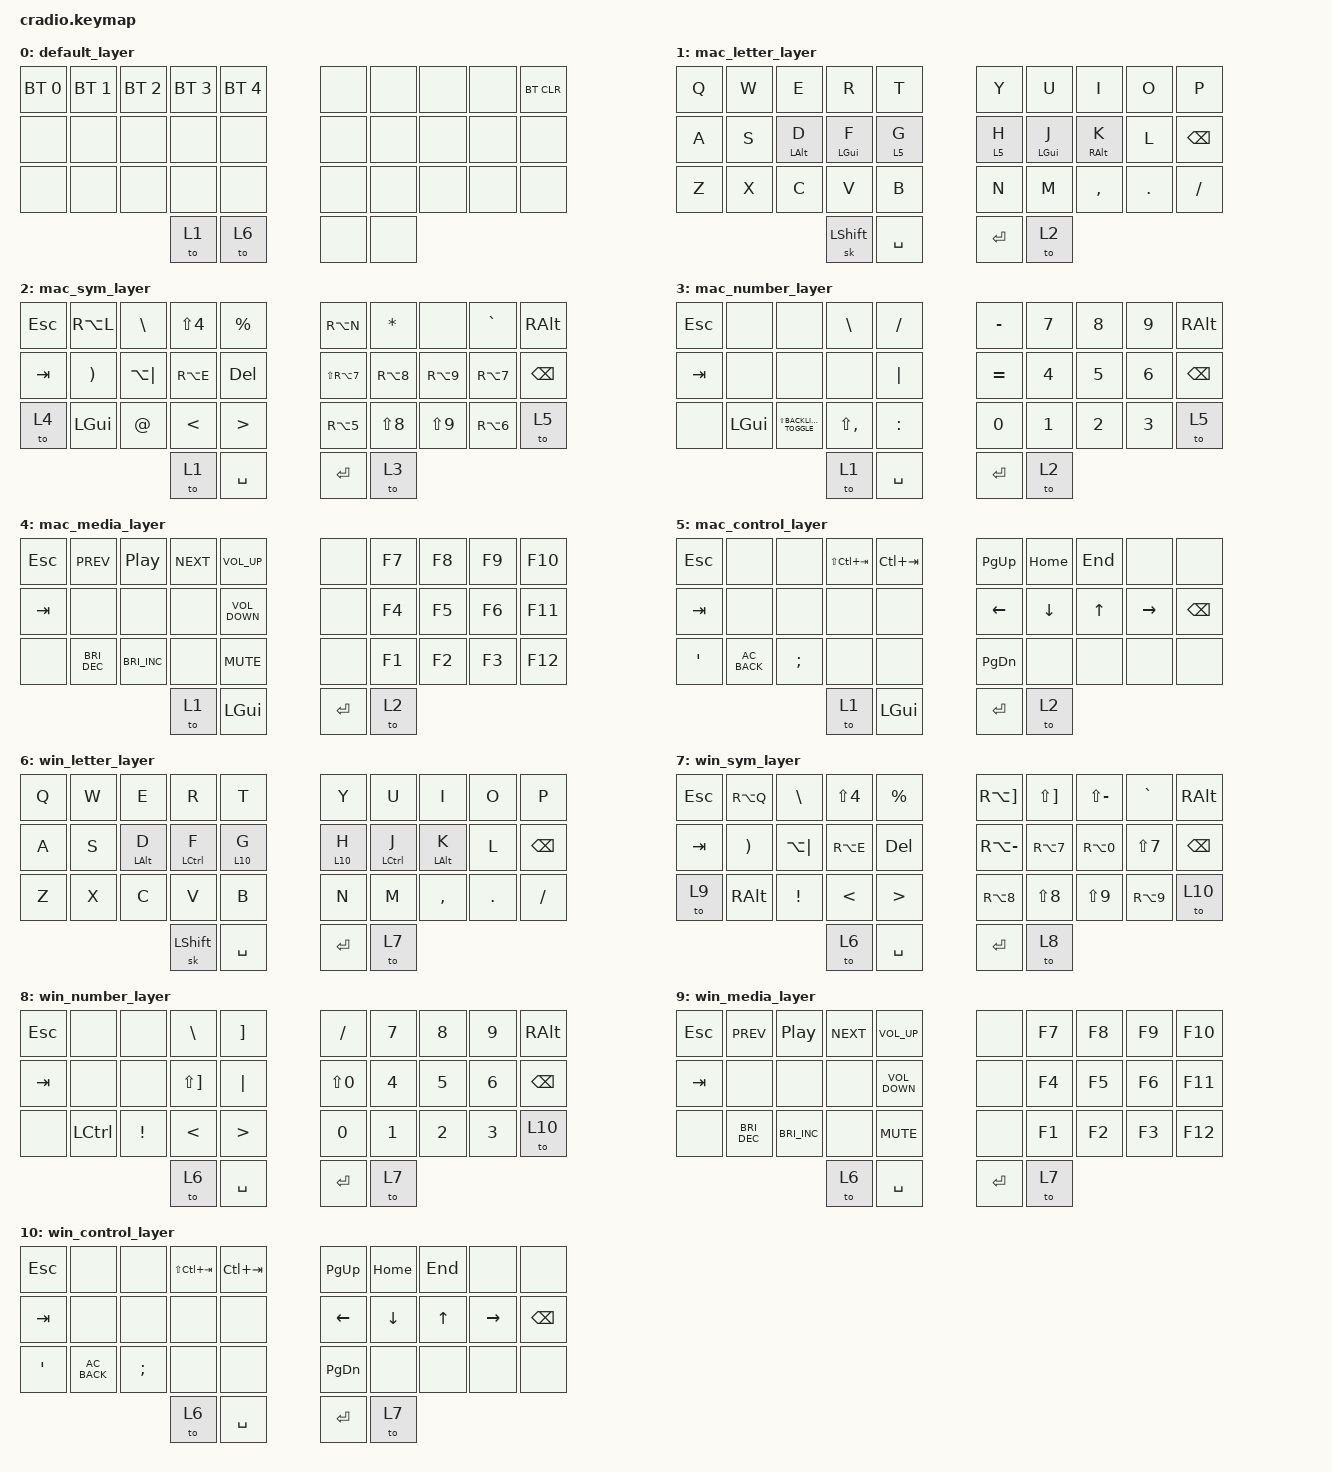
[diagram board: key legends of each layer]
// Copyright (c) 2022 The ZMK Contributors
// SPDX-License-Identifier: MIT

#include <behaviors.dtsi>
#include <dt-bindings/zmk/bt.h>
#include <dt-bindings/zmk/keys.h>

#define BASE 0
#define MAC_LETTER 1
#define MAC_SYM 2
#define MAC_NUMBER 3
#define MAC_MEDIA 4
#define MAC_CONTROL 5
#define WIN_LETTER 6
#define WIN_SYM 7
#define WIN_NUMBER 8
#define WIN_MEDIA 9
#define WIN_CONTROL 10// -----------------

&mt {
    tapping-term-ms = <400>;
};

/ {
    keymap {
        compatible = "zmk,keymap";

        default_layer {
            bindings = <
 &bt BT_SEL 0  &bt BT_SEL 1  &bt BT_SEL 2  &bt BT_SEL 3  &bt BT_SEL 4   &none   &none   &none   &none  &bt BT_CLR
        &none         &none         &none         &none         &none   &none   &none   &none   &none       &none
        &none         &none         &none         &none         &none   &none   &none   &none   &none       &none
                                                  &to 1         &to 6   &none   &none
            >;
        };

        mac_letter_layer {
            bindings = <
  &kp Q   &kp W       &kp E       &kp R      &kp T      &kp Y       &kp U       &kp I    &kp O     &kp P
  &kp A   &kp S  &mt LALT D  &mt LGUI F    &lt 5 G    &lt 5 H  &mt LGUI J  &mt RALT K    &kp L  &kp BSPC
  &kp Z   &kp X       &kp C       &kp V      &kp B      &kp N       &kp M   &kp COMMA  &kp DOT  &kp FSLH
                             &sk LSHIFT  &kp SPACE  &kp ENTER       &to 2
            >;
        };

        mac_sym_layer {
            bindings = <
 &kp ESC  &kp RA(L)  &kp BACKSLASH  &kp LS(N4)  &kp PERCENT       &kp RA(N)  &kp ASTERISK       &none   &kp GRAVE  &kp RALT
 &kp TAB   &kp RPAR   &kp LA(PIPE)   &kp RA(E)   &kp DELETE  &kp LS(RA(N7))    &kp RA(N8)  &kp RA(N9)  &kp RA(N7)  &kp BSPC
   &to 4   &kp LGUI         &kp AT      &kp LT       &kp GT      &kp RA(N5)    &kp LS(N8)  &kp LS(N9)  &kp RA(N6)     &to 5
                                         &to 1    &kp SPACE       &kp ENTER         &to 3
            >;
        };

        mac_number_layer {
            bindings = <
 &kp ESC     &none                       &none  &kp BACKSLASH  &kp SLASH  &kp MINUS  &kp N7  &kp N8  &kp N9  &kp RALT
 &kp TAB     &none                       &none          &none   &kp PIPE  &kp EQUAL  &kp N4  &kp N5  &kp N6  &kp BSPC
   &none  &kp LGUI  &kp LS(C_BACKLIGHT_TOGGLE)  &kp LS(COMMA)  &kp COLON     &kp N0  &kp N1  &kp N2  &kp N3     &to 5
                                                        &to 1  &kp SPACE  &kp ENTER   &to 2
            >;
        };

        mac_media_layer {
            bindings = <
 &kp ESC            &kp C_PREV      &kp C_PLAY_PAUSE  &kp C_NEXT    &kp C_VOLUME_UP      &none  &kp F7  &kp F8  &kp F9  &kp F10
 &kp TAB                 &none                 &none       &none  &kp C_VOLUME_DOWN      &none  &kp F4  &kp F5  &kp F6  &kp F11
   &none  &kp C_BRIGHTNESS_DEC  &kp C_BRIGHTNESS_INC       &none         &kp C_MUTE      &none  &kp F1  &kp F2  &kp F3  &kp F12
                                                           &to 1           &kp LGUI  &kp ENTER   &to 2
            >;
        };

        mac_control_layer {
            bindings = <
        &kp ESC          &none     &none  &kp LS(LC(TAB))  &kp LC(TAB)     &kp PAGE_UP        &kp HOME       &kp END            &none     &none
        &kp TAB          &none     &none            &none        &none  &kp LEFT_ARROW  &kp DOWN_ARROW  &kp UP_ARROW  &kp RIGHT_ARROW  &kp BSPC
 &kp APOSTROPHE  &kp C_AC_BACK  &kp SEMI            &none        &none   &kp PAGE_DOWN           &none         &none            &none     &none
                                                    &to 1     &kp LGUI       &kp ENTER           &to 2
            >;
        };

        win_letter_layer {
            bindings = <
  &kp Q   &kp W       &kp E        &kp R      &kp T      &kp Y        &kp U       &kp I    &kp O     &kp P
  &kp A   &kp S  &mt LALT D  &mt LCTRL F   &lt 10 G   &lt 10 H  &mt LCTRL J  &mt LALT K    &kp L  &kp BSPC
  &kp Z   &kp X       &kp C        &kp V      &kp B      &kp N        &kp M   &kp COMMA  &kp DOT  &kp FSLH
                              &sk LSHIFT  &kp SPACE  &kp ENTER        &to 7
            >;
        };

        win_sym_layer {
            bindings = <
 &kp ESC  &kp RA(Q)    &kp BACKSLASH  &kp LS(N4)  &kp PERCENT  &kp RA(RIGHT_BRACKET)  &kp LS(RIGHT_BRACKET)  &kp LS(MINUS)   &kp GRAVE  &kp RALT
 &kp TAB   &kp RPAR     &kp LA(PIPE)   &kp RA(E)   &kp DELETE          &kp RA(MINUS)             &kp RA(N7)     &kp RA(N0)  &kp LS(N7)  &kp BSPC
   &to 9   &kp RALT  &kp EXCLAMATION      &kp LT       &kp GT             &kp RA(N8)             &kp LS(N8)     &kp LS(N9)  &kp RA(N9)    &to 10
                                           &to 6    &kp SPACE              &kp ENTER                  &to 8
            >;
        };

        win_number_layer {
            bindings = <
 &kp ESC      &none            &none          &kp BACKSLASH  &kp RIGHT_BRACKET   &kp SLASH  &kp N7  &kp N8  &kp N9  &kp RALT
 &kp TAB      &none            &none  &kp LS(RIGHT_BRACKET)           &kp PIPE  &kp LS(N0)  &kp N4  &kp N5  &kp N6  &kp BSPC
   &none  &kp LCTRL  &kp EXCLAMATION                 &kp LT   &kp GREATER_THAN      &kp N0  &kp N1  &kp N2  &kp N3    &to 10
                                                      &to 6          &kp SPACE   &kp ENTER   &to 7
            >;
        };

        win_media_layer {
            bindings = <
 &kp ESC            &kp C_PREV      &kp C_PLAY_PAUSE  &kp C_NEXT    &kp C_VOLUME_UP      &none  &kp F7  &kp F8  &kp F9  &kp F10
 &kp TAB                 &none                 &none       &none  &kp C_VOLUME_DOWN      &none  &kp F4  &kp F5  &kp F6  &kp F11
   &none  &kp C_BRIGHTNESS_DEC  &kp C_BRIGHTNESS_INC       &none         &kp C_MUTE      &none  &kp F1  &kp F2  &kp F3  &kp F12
                                                           &to 6          &kp SPACE  &kp ENTER   &to 7
            >;
        };

        win_control_layer {
            bindings = <
        &kp ESC          &none     &none  &kp LS(LC(TAB))  &kp LC(TAB)     &kp PAGE_UP        &kp HOME       &kp END            &none     &none
        &kp TAB          &none     &none            &none        &none  &kp LEFT_ARROW  &kp DOWN_ARROW  &kp UP_ARROW  &kp RIGHT_ARROW  &kp BSPC
 &kp APOSTROPHE  &kp C_AC_BACK  &kp SEMI            &none        &none   &kp PAGE_DOWN           &none         &none            &none     &none
                                                    &to 6    &kp SPACE       &kp ENTER           &to 7
            >;
        };
    };
};
